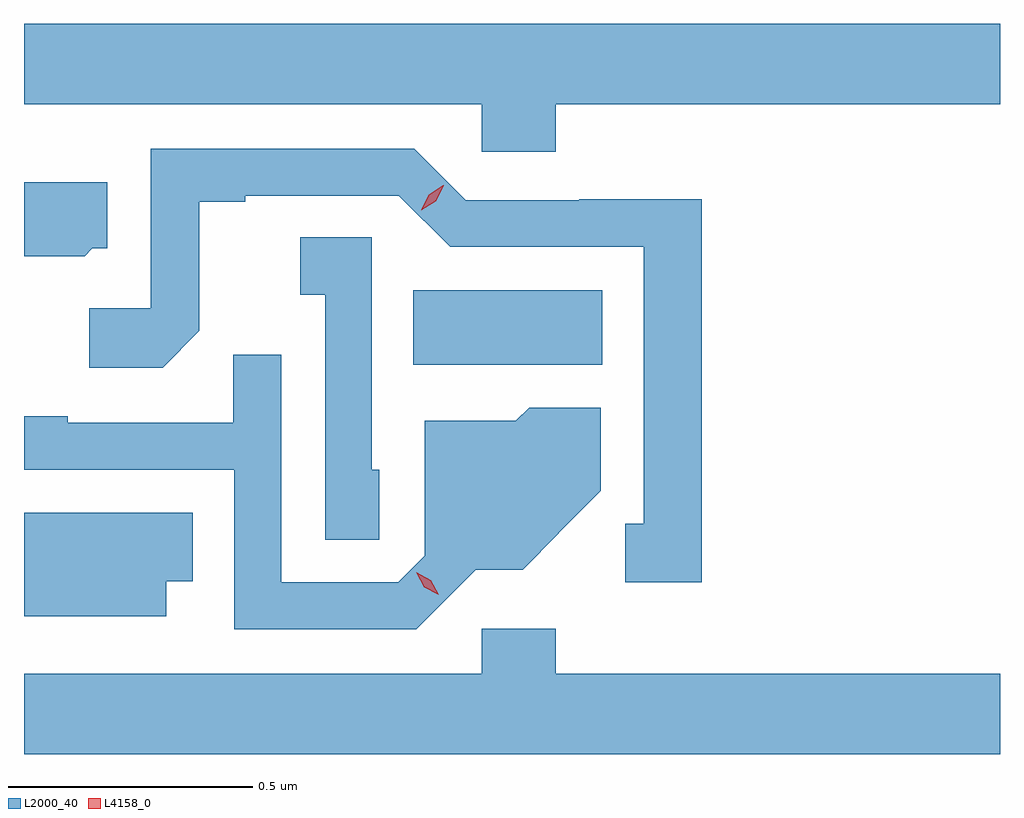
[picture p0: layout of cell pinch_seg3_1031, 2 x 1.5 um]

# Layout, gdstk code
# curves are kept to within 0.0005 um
import gdstk
lib = gdstk.Library(unit=1e-6, precision=1e-09)
def R(c, l, rs):  # rectangles x0, y0, x1, y1
    for r in rs: c.add(gdstk.rectangle(r[:2], r[2:], *l))
def P(c, l, *ps):  # polygons
    for p in ps: c.add(gdstk.Polygon(p, *l))
L2000_40 = (2000, 40)
L4158_0 = (4158, 0)

pinch_seg3_1031 = lib.new_cell('pinch_seg3_1031')
R(pinch_seg3_1031, L2000_40, [(403.102,680.402,403.489,680.554)])
P(pinch_seg3_1031, L2000_40, [(403.394,680.936),(404.304,680.936),(404.304,681.1),(402.304,681.1),(402.304,680.936),(403.242,680.936),(403.242,680.838),(403.394,680.838)],
  [(403.693,680.741),(403.442,680.741),(403.442,680.739),(403.209,680.739),(403.104,680.844),(402.564,680.844),(402.564,680.517),(402.438,680.517),(402.438,680.396),(402.588,680.396),(402.663,680.471),(402.663,680.736),(402.757,680.736),(402.757,680.748),(403.072,680.748),(403.177,680.643),(403.574,680.643),(403.574,680.076),(403.536,680.076),(403.536,679.956),(403.693,679.956)],
  [(402.444,680.64),(402.475,680.64),(402.475,680.776),(402.304,680.776),(402.304,680.624),(402.428,680.624)],
  [(403.032,680.187),(403.017,680.187),(403.017,680.663),(402.87,680.663),(402.87,680.545),(402.921,680.545),(402.921,680.043),(403.032,680.043)],
  [(403.23,679.982),(403.326,679.982),(403.486,680.143),(403.486,680.314),(403.339,680.314),(403.312,680.287),(403.125,680.287),(403.125,680.01),(403.071,679.956),(402.831,679.956),(402.831,680.422),(402.733,680.422),(402.733,680.283),(402.394,680.283),(402.394,680.296),(402.304,680.296),(402.304,680.187),(402.735,680.187),(402.735,679.86),(403.108,679.86)],
  [(402.595,679.958),(402.65,679.958),(402.65,680.098),(402.304,680.098),(402.304,679.886),(402.595,679.886)],
  [(404.304,679.768),(403.394,679.768),(403.394,679.861),(403.242,679.861),(403.242,679.768),(402.304,679.768),(402.304,679.604),(404.304,679.604)])
P(pinch_seg3_1031, L4158_0, [(403.118,680.718),(403.118,680.718),(403.133,680.75),(403.163,680.77),(403.164,680.77),(403.164,680.769),(403.148,680.737),(403.118,680.718)],
  [(403.154,679.93),(403.124,679.946),(403.108,679.976),(403.108,679.976),(403.108,679.976),(403.138,679.96),(403.154,679.93),(403.154,679.93)])

lib.write_gds('pinch_seg3_1031.gds')
